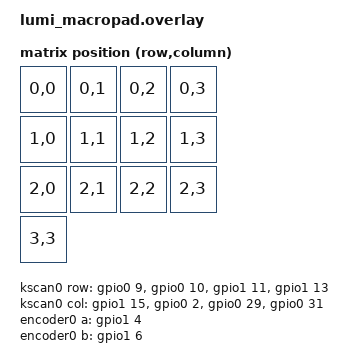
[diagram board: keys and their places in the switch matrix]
#include <zephyr/dt-bindings/gpio/gpio.h>
#include <dt-bindings/led/led.h>
#include <dt-bindings/zmk/matrix_transform.h>
#include "lumi_macropad-layouts.dtsi"

/ {
    kscan0: kscan0 {
        compatible = "zmk,kscan-gpio-matrix";
        diode-direction = "col2row";
        wakeup-source;

        // Physical wiring from the original Arduino firmware:
        // ROW0 P0.09, ROW1 P0.10, ROW2 P1.11, ROW3 P1.13
row-gpios
    = <&gpio0 9  (GPIO_ACTIVE_HIGH | GPIO_PULL_DOWN)>
    , <&gpio0 10 (GPIO_ACTIVE_HIGH | GPIO_PULL_DOWN)>
    , <&gpio1 11 (GPIO_ACTIVE_HIGH | GPIO_PULL_DOWN)>
    , <&gpio1 13 (GPIO_ACTIVE_HIGH | GPIO_PULL_DOWN)>
    ;

        // COL0 P1.15, COL1 P0.02, COL2 P0.29, COL3 P0.31
        col-gpios
            = <&gpio1 15 GPIO_ACTIVE_HIGH>
            , <&gpio0 2  GPIO_ACTIVE_HIGH>
            , <&gpio0 29 GPIO_ACTIVE_HIGH>
            , <&gpio0 31 GPIO_ACTIVE_HIGH>
            ;
    };

    default_transform: keymap_transform0 {
        compatible = "zmk,matrix-transform";
        rows = <4>;
        columns = <4>;

        // 12 main keys first, encoder push last (ROW0/COL3).
        map = <
    RC(0,0) RC(0,1) RC(0,2) RC(0,3)
    RC(1,0) RC(1,1) RC(1,2) RC(1,3)
    RC(2,0) RC(2,1) RC(2,2) RC(2,3)
    RC(3,3)
>;
    };

    encoder0: encoder0 {
        compatible = "alps,ec11";
        a-gpios = <&gpio1 4 (GPIO_ACTIVE_HIGH | GPIO_PULL_UP)>;
        b-gpios = <&gpio1 6 (GPIO_ACTIVE_HIGH | GPIO_PULL_UP)>;
        steps = <80>;
        status = "okay";
    };

    sensors: sensors {
        compatible = "zmk,keymap-sensors";
        sensors = <&encoder0>;
        triggers-per-rotation = <20>;
    };

    chosen {
        zmk,kscan = &kscan0;
        zmk,physical-layout = &lumi_macropad_layout;
        zephyr,display = &lumi_tft;
        zmk,underglow = &led_strip;
    };
};

&pinctrl {
    lumi_tft_spi_default: lumi_tft_spi_default {
        group1 {
            psels = <NRF_PSEL(SPIM_SCK, 0, 20)>,
                    <NRF_PSEL(SPIM_MOSI, 0, 17)>;
        };
    };

    lumi_tft_spi_sleep: lumi_tft_spi_sleep {
        group1 {
            psels = <NRF_PSEL(SPIM_SCK, 0, 20)>,
                    <NRF_PSEL(SPIM_MOSI, 0, 17)>;
            low-power-enable;
        };
    };

    lumi_rgb_spi_default: lumi_rgb_spi_default {
        group1 {
            psels = <NRF_PSEL(SPIM_MOSI, 0, 6)>;
        };
    };

    lumi_rgb_spi_sleep: lumi_rgb_spi_sleep {
        group1 {
            psels = <NRF_PSEL(SPIM_MOSI, 0, 6)>;
            low-power-enable;
        };
    };
};

// ST7789 1.47 inch, physical panel 172x320, used in landscape as 320x172.
// Original Arduino wiring:
// MOSI P0.17, SCLK P0.20, CS P0.22, DC P0.24, RST P1.00.
// ZMK v0.3 uses Zephyr 3.5, whose ST7789 driver expects the display node
// directly below the SPI controller.
&spi1 {
    compatible = "nordic,nrf-spim";
    status = "okay";
    pinctrl-0 = <&lumi_tft_spi_default>;
    pinctrl-1 = <&lumi_tft_spi_sleep>;
    pinctrl-names = "default", "sleep";
    cs-gpios = <&gpio0 22 GPIO_ACTIVE_LOW>;

    lumi_tft: st7789v@0 {
        compatible = "sitronix,st7789v";
        spi-max-frequency = <32000000>;
        reg = <0>;
        cmd-data-gpios = <&gpio0 24 GPIO_ACTIVE_LOW>;
        reset-gpios = <&gpio1 0 GPIO_ACTIVE_LOW>;
        width = <320>;
        height = <172>;
        x-offset = <0>;
        y-offset = <34>;
        vcom = <0x19>;
        gctrl = <0x35>;
        vrhs = <0x12>;
        vdvs = <0x20>;
        // Landscape orientation used by this 1.47-inch panel: MX + MV.
        // Keep BGR cleared so red/blue stay in the correct RGB order.
        mdac = <0x60>;
        gamma = <0x01>;
        colmod = <0x05>;
        lcm = <0x2c>;
        porch-param = [0c 0c 00 33 33];
        cmd2en-param = [5a 69 02 01];
        pwctrl1-param = [a4 a1];
        pvgam-param = [D0 04 0D 11 13 2B 3F 54 4C 18 0D 0B 1F 23];
        nvgam-param = [D0 04 0C 11 13 2C 3F 44 51 2F 1F 1F 20 23];
        ram-param = [00 F0];
        rgb-param = [CD 08 14];
    };
};

// Four WS2812B LEDs on P0.06. The SPI peripheral only generates the
// WS2812 data waveform; there is no separate SCK wire to the LEDs.
&spi3 {
    compatible = "nordic,nrf-spim";
    status = "okay";
    pinctrl-0 = <&lumi_rgb_spi_default>;
    pinctrl-1 = <&lumi_rgb_spi_sleep>;
    pinctrl-names = "default", "sleep";

    led_strip: ws2812@0 {
        compatible = "worldsemi,ws2812-spi";
        reg = <0>;
        spi-max-frequency = <4000000>;
        chain-length = <4>;
        spi-one-frame = <0x70>;
        spi-zero-frame = <0x40>;
        color-mapping = <LED_COLOR_ID_GREEN
                         LED_COLOR_ID_RED
                         LED_COLOR_ID_BLUE>;
    };
};

&lumi_macropad_layout {
    kscan = <&kscan0>;
    transform = <&default_transform>;
};


/* Dedicated USB serial port for LumiPad PC app.
 * ZMK Studio keeps using its own CDC ACM interface.
 */
&zephyr_udc0 {
    lumi_app_uart: lumi_app_uart {
        compatible = "zephyr,cdc-acm-uart";
    };
};


/* Reserve internal flash for the custom screensaver.
 * Original code partition: 0x26000..0xEC000 (0xC6000 bytes).
 * Keep 0x70000 bytes (~448 KB) for firmware and use the remaining
 * 0x56000 bytes (~352 KB) for 8 lightweight RGB332 frames at 80x43.
 */
&code_partition {
    reg = <0x26000 0x70000>;
};

&flash0 {
    partitions {
        lumi_saver_partition: partition@96000 {
            reg = <0x96000 0x56000>;
        };
    };
};
